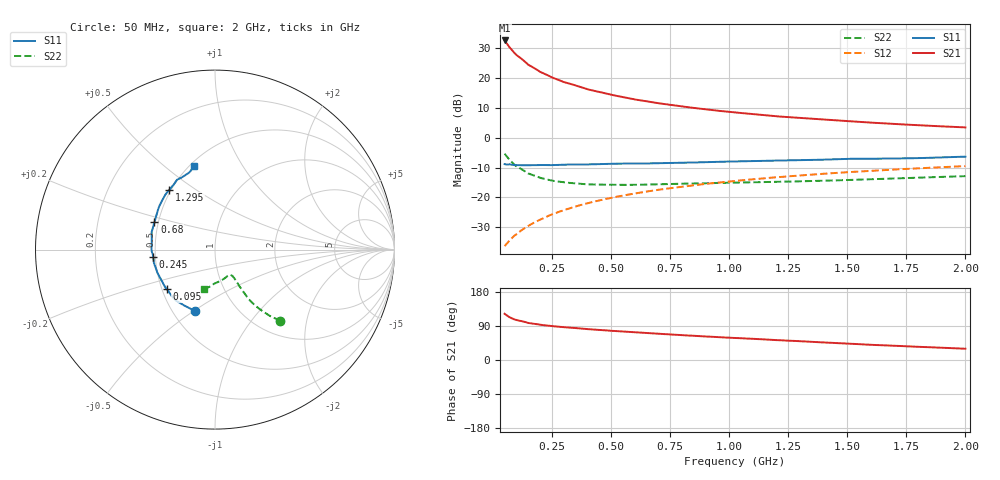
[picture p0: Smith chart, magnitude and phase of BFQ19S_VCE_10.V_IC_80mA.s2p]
! Infineon Technologies  Discrete & RF Semiconductors
! BFQ19S
! VCE =  10. V,  IC =  80 mA
! Common Emitter S-Parameters:  Jan 2016
# GHz  S  MA  R  50
!  f  S11  S21  S12  S22
! GHz  MAG  ANG  MAG  ANG  MAG  ANG  MAG  ANG
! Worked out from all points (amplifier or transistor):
!   391 points, 50 MHz to 2 GHz, reference 50 ohm
!   highest |S21| = 32.5 dB at 50 MHz (marker M1)
!   |S21| within 3 dB of that: start of sweep to 78.42 MHz
!   unconditionally stable (mu >= 1): 230.8 MHz to 1.724 GHz
!   at 375 MHz: K = 1.03, MAG = 18.6 dB, |S12| = -22.5 dB
!   at 1.025 GHz: K = 1.04, MAG = 10.3 dB, |S12| = -14.5 dB
!   at 2 GHz: K = 0.97, MSG = 6.5 dB, |S12| = -9.5 dB
!   S11 on the Smith chart (normalised r, x): 50 MHz: 0.64, -0.50; 95 MHz: 0.53, -0.26; 245 MHz: 0.49, -0.04; 680 MHz: 0.48, +0.17; 1.295 GHz: 0.49, +0.39; 2 GHz: 0.53, +0.64
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0.05  0.3598 -108.4  42.08 121.9  0.0153 65.8  0.538 -47.4
0.06  0.3554 -118.5  36.9 117.0  0.0169 65.7  0.4775 -50.5
0.07  0.3577 -127.0  32.67 113.2  0.019 66.3  0.4293 -52.5
0.08  0.3533 -133.3  29.26 110.0  0.0206 67.1  0.3898 -54.1
0.09  0.3475 -138.6  26.43 107.4  0.0227 67.6  0.3574 -55.1
0.095  0.3471 -141.0  25.22 106.4  0.0234 68.3  0.3439 -55.4
0.1  0.3474 -143.4  24.01 105.2  0.0242 69.0  0.3305 -55.8
0.15  0.3458 -158.1  16.54 97.7  0.0334 71.4  0.2515 -56.3
0.2  0.3484 -167.8  12.59 92.9  0.0424 73.0  0.2121 -56.0
0.245  0.3465 -173.6  10.37 89.8  0.0509 73.7  0.1928 -56.1
0.3  0.3536 -179.2  8.5 86.5  0.061 73.8  0.1781 -56.3
0.375  0.3545 174.2  6.94 83.0  0.0752 73.6  0.1685 -57.6
0.4  0.3559 172.0  6.428 81.5  0.0799 73.5  0.1653 -58.1
0.5  0.3661 164.7  5.194 77.1  0.0982 72.4  0.1624 -60.8
0.68  0.3714 155.3  3.874 70.2  0.1304 70.0  0.1648 -67.3
0.7  0.3726 154.3  3.757 69.3  0.134 69.8  0.1655 -68.0
0.88  0.3864 145.7  3.03 62.8  0.1647 66.9  0.1718 -75.0
1.03  0.3995 138.6  2.621 58.0  0.1894 64.3  0.177 -80.2
1.295  0.4188 127.5  2.137 49.8  0.2319 60.0  0.1854 -88.2
1.35  0.4229 125.1  2.063 48.0  0.2406 59.2  0.1874 -89.7
1.675  0.446 112.1  1.713 38.2  0.2889 53.7  0.2069 -97.6
2  0.4804 103.9  1.48 29.7  0.3338 48.7  0.2267 -106.3
